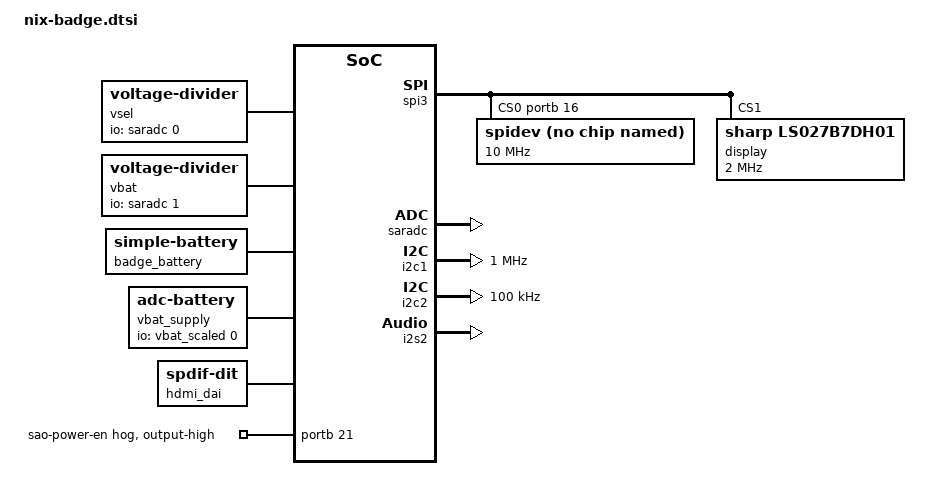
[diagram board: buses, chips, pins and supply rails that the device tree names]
// SPDX-License-Identifier: (GPL-2.0 OR MIT)
/*
 * The NixVegas badge carrier, on either core: the SPI3 LED ring and Sharp panel, the
 * SAO power hog, the SARADC rail meters, the I2C1 OLED, the I2C2 LT8912B bridge and
 * I2S2 HDMI audio. Each core's DTS keeps its own pinctrl, DMA cells and line names.
 */

/*
 * SPI3 (DesignWare APB SSI) on the 40-pin header drives both the WS2812 LED
 * ring (/dev/spidev3.0) and the Sharp Memory Display (display@1) over one bus
 * with the CS-and-gate wiring: U10 gates LED_DIN = CS and SDO, and the front
 * connector routes the same CS net through an inverter to the display's SCS.
 * The controller node itself (compatible/reg/#cells/clocks/interrupts/resets)
 * comes from the base cv180x.dtsi (status="disabled"); this enables it and adds
 * the two board devices. Identical on both cores, so it lives here.
 *
 * Per-core bits stay in each DTS: `dmas` (the cv1800b dmamux request's CPU
 * cell, 0 = CA53 on ARM / 1 = C906 on RISC-V) and, on ARM only, the GIC-form
 * `interrupts` override (the base's 2-cell PLIC form is wrong under the arm64
 * GIC); plus the `spi3_cfg` pinctrl, whose pin-macro names differ (arm PIN_*
 * vs riscv SG2000_*), referenced here by label. Requires RESET_SIMPLE in the
 * kernel (shared, base.nix) so &rst binds and RST_SPI3 is deasserted, without
 * it the optional reset never releases and the bus comes up half-reset.
 */
&spi3 {
	num-cs = <2>;
	/* GPIO chip select, active-high. U10 passes LED data only while CS is
	 * high; the native DW CS cannot do active-high (dw_spi_set_cs just sets
	 * SER regardless of level), so use a gpiod CS, dw_spi sets
	 * SPI_CONTROLLER_GPIO_SS so SER is still raised and data flows. VIVO_D5 is
	 * XGPIOB_16 at mux 3 (see each core's spi3_cfg). */
	cs-gpios = <&portb 16 GPIO_ACTIVE_HIGH>;
	pinctrl-0 = <&spi3_cfg>;
	pinctrl-names = "default";
	status = "okay";

	/* WS2812 ring at /dev/spidev3.0. spidev binds known compatibles only;
	 * rohm,dh2228fv is in spidev_dt_ids. spi-cs-high is required for the U10
	 * and gate: gpiolib-of forces every SPI cs-gpio active-low unless the child
	 * carries spi-cs-high (SPI children default to active-low chip selects). */
	spidev@0 {
		compatible = "rohm,dh2228fv";
		reg = <0>;
		spi-max-frequency = <10000000>;
		spi-cs-high;
	};

	/* Sharp Memory Display (LS027B7DH01, 400x240) as a DRM fbcon. The
	 * same CS net reaches SCS through an inverter, so this child has NO cs-gpios
	 * (the controller's cs-gpios array has one entry; index 1 is NULL) and the
	 * SPI core toggles nothing here, the line sits where the LED cs-gpio
	 * (spidev3.0) left it: low = display selected when the painter is idle.
	 * EXTMODE strapped low => software VCOM (kthread toggles the in-band VCOM
	 * bit, no EXTCOMIN pin); DISP tied high => no enable-gpios. */
	display@1 {
		compatible = "sharp,ls027b7dh01";
		reg = <1>;
		spi-max-frequency = <2000000>;
		sharp,vcom-mode = "software";
	};
};

/*
 * SAO connector power hog. Lives in its own &portb block; dtc merges it with
 * each core's &portb (which carries the core-specific gpio-line-names).
 */
&portb {
	/* Enable the SAO connector power (U13 EN + U12 OE) at boot. */
	sao-power-en-hog {
		gpio-hog;
		gpios = <21 GPIO_ACTIVE_HIGH>;
		output-high;
		line-name = "sao-power-en";
	};
};

/*
 * SARADC for the battery + rail voltage meters. The cv1800b-adc IIO driver
 * exposes in_voltage0/1/2 (scale 3300/4096 = ~0.8057 mV per LSB). Channel map:
 *   in_voltage0 = VSEL  (system rail, = VBUS through the TPS2116 mux; R16/R19),
 *                       2.2M/1M divider -> read via the vsel-divider rescale
 *   in_voltage1 = VBAT  (battery; R15 2.2M / R18 1M), divider -> vbat-divider
 *   in_voltage2 = J6    (user ADC test point, NO divider) -> read the base
 *                       channel directly: in_voltage2_raw * in_voltage_scale
 * VSEL/VBAT need the divider because they exceed the 3.3V input; J6 does not.
 * The base node (cv180x.dtsi) is status="disabled" with channel@0..2 declared.
 */
&saradc {
	status = "okay";
	/* Expose the ADC channels to in-kernel consumers (the iio-rescale below). */
	#io-channel-cells = <1>;
};

/*
 * VBAT as a standard Linux power_supply, to compare against nix-badge's
 * per-badge VBUS auto-cal and decide fixed-factor-vs-cal. iio-rescale
 * (voltage-divider) applies a FIXED factor to the VBAT SARADC channel;
 * generic-adc-battery (adc-battery) then publishes it at
 * /sys/class/power_supply/. The physical divider is 2.2M/1M (x3.2), but the
 * ~138k leaky SARADC input loads it to an effective ~19.24, so output/full-ohms
 * encode ~19.24 (a per-SoC approximation, not the real resistors). Compare
 * voltage_now here to `nix-badge power` (which auto-cals per badge off the ~5V
 * VBUS) to see how far a single fixed factor drifts across badges/temperature.
 * Both cores get this via the shared dtsi. Drivers autoload (CONFIG_IIO_RESCALE,
 * CONFIG_GENERIC_ADC_BATTERY are =m).
 */
/ {
	/* VSEL and VBAT exceed the ADC's 3.3V input range, so each goes through a
	 * 2.2M/1M divider; an iio-rescale presents the true rail voltage in sysfs
	 * (raw*scale = real mV, effective ~19.24 after the leaky ADC input) so
	 * userspace needs no hardcoded factor. `label` surfaces at
	 * /sys/bus/iio/devices/iio:deviceN/label. VBAT additionally feeds an
	 * adc-battery below for the power_supply %/status interface; VSEL is the
	 * system rail (VBUS through the TPS2116 mux). J6 is a direct user ADC input
	 * with NO divider, read it straight from SARADC channel 2 (in_voltage2_raw
	 * * in_voltage_scale), no rescale. */
	vsel_scaled: vsel-divider {
		compatible = "voltage-divider";
		io-channels = <&saradc 0>; /* VSEL = SARADC channel 0 */
		#io-channel-cells = <1>;
		output-ohms = <1000>;
		full-ohms = <19240>;
		label = "vsel";
	};

	/* measured 2026-09-12, badge #1, with a pack fitted and the SARADC
	 * completion race fixed: VBAT is far noisier than VSEL even though the two
	 * nets are electrically identical (2.2M to source, 1M to GND, 10nF to GND;
	 * 687.5k || 10nF = 6.9ms, a 23Hz corner). VBAT sd ~116 raw (~1.8 V!),
	 * swinging 0..584; VSEL sd ~20 on the same ADC and the same conversions.
	 * Eliminated by measurement: the ADC and its driver (VSEL is clean), the
	 * divider topology (identical), the S/H draining the 10nF (rate-invariant,
	 * sd 126/124/141/123 at 0/10/35/100ms gaps, no collapse at 5*tau), and pack
	 * internal resistance (load-invariant, sd 116/104/117 idle/loaded/idle,
	 * median flat). So it is an analog fault on the VBAT path: the 10nF not
	 * doing its job here, board coupling below 23Hz or past the filter, or a
	 * damaged ch1 input in the SoC. Scope the divider midpoint, or jumper
	 * VBAT_MEASURE to the J6 pad (ch2), if the noise follows the net it is the
	 * board, if it stays on ch1 it is the SoC pin. Until then treat the
	 * power_supply voltage_now as advisory and trust nix-badge's median. */
	vbat_scaled: vbat-divider {
		compatible = "voltage-divider";
		io-channels = <&saradc 1>; /* VBAT = SARADC channel 1 */
		#io-channel-cells = <1>;
		output-ohms = <1000>;
		full-ohms = <19240>; /* 19240/1000 = 19.24 effective factor */
		label = "vbat";
	};

	badge_battery: badge-battery {
		compatible = "simple-battery";
		voltage-min-design-microvolt = <3000000>;
		voltage-max-design-microvolt = <4200000>;
	};

	vbat_supply: vbat-adc-battery {
		compatible = "adc-battery";
		io-channels = <&vbat_scaled 0>;
		io-channel-names = "voltage";
		monitored-battery = <&badge_battery>;
	};
};

/*
 * SAO connector I2C = IIC1 (i2c@4010000) for the 128x32 SSD1306 OLED at 0x3c.
 * The bling engine drives the panel from userspace over /dev/i2c-1 (i2c-dev),
 * so we enable the controller but bind no in-kernel client (no ssd1306fb, which
 * would claim 0x3c). The SAO SDA/SCL pads are PORTB 17/18 = PIN_VIVO_D4 /
 * PIN_VIVO_D3; their IIC1 pinmux (i2c1_cfg) is in each core's DTS, since the
 * arm and riscv pin-macro names differ (like sdhci1_cfg).
 */
/* Pin i2c@4010000 to /dev/i2c-1 deterministically (without an alias it takes the
 * first free dynamic bus number, i2c-0 here, since it is the only enabled i2c).
 * The bling engine / `nix-badge oled` open /dev/i2c-1. */
/ {
	aliases {
		i2c1 = &i2c1;
	};
};

&i2c1 {
	status = "okay";
	/* 400 kHz standard fast-mode. We tried 1 MHz fast-mode-plus for 60 fps Bad Apple
	 * headroom, but (a) it gave no fps gain, the delta player is fix-eval-bound at
	 * ~46 fps, not I2C-bandwidth-bound, so a faster bus doesn't lift the ceiling,
	 * and (b) it was marginal for the SAO wiring: single-byte i2cdetect still ACKs at
	 * 1 MHz. That was pinned back to 400 kHz once, because the multi-byte SSD1306
	 * init sequence intermittently NAKs at 1 MHz and a NAK during init is not a
	 * small failure: Panel.open reads it as "nothing answers at 0x3c" and the
	 * badge runs blind until the next boot (the no-OLED guard). It is back at
	 * 1 MHz now that command frames retry, see cmd_retries / writeCmdFrame in
	 * pkgs/badge/nix-badge/oled.zig, which re-sends a frame the panel did not ACK
	 * (safe because every init and addressing byte is an idempotent register
	 * write; data frames deliberately do not retry).
	 *
	 * Do not read this as the road to 60 fps. Measured on the badge, the oled
	 * daemon splits 26% user / 6% kernel, so it is per-frame eval cost that
	 * dominates, not the bus, and Bad Apple's delta frames are tens of bytes
	 * either way. What 1 MHz actually buys is full-frame flushes: ~23 ms at
	 * 400 kHz against ~9 ms here. If blank-panel boots ever come back, drop this
	 * to 400000 first and reopen the retry path second. */
	clock-frequency = <1000000>;
	/* i2c1_cfg (VIVO_D4/D3 -> IIC1, mux 5) is defined per-core: the arm and
	 * riscv pin-macro names differ (PIN_VIVO_* vs SG2000_VIVO_*), like sdhci1_cfg.
	 * The label resolves globally at dtc time. */
	pinctrl-names = "default";
	pinctrl-0 = <&i2c1_cfg>;
};

/*
 * IIC2 carries the LT8912B HDMI bridge control port: 0x48 main, 0x49
 * DSI/AVI, 0x4a. Disabled in cv180x.dtsi by default, without this only
 * /dev/i2c-1 exists and the bridge cannot be programmed at all, which on the
 * riscv core showed up as a perfect DSI stream going into an unconfigured
 * bridge. 100 kHz standard mode for a robust first register probe (the part
 * tolerates 400 kHz; can be raised later).
 *
 * iic2_cfg (IIC2_SCL/SDA, chip J13/J14, mux 0) is defined per-core for the
 * same reason as i2c1_cfg: the arm and riscv pin-macro names differ. Those
 * pads are IO_TYPE_1V8_ONLY, so both definitions must use power-source 1800
 * or the whole pin state -EINVALs.
 */
&i2c2 {
	status = "okay";
	clock-frequency = <100000>;
	pinctrl-names = "default";
	pinctrl-0 = <&iic2_cfg>;
};

/*
 * HDMI audio: SG2000 I2S2 -> LT8912B I2S input.
 *
 * Traced from the badge's own KiCad sources (pcb, cpu.kicad_sch +
 * hdmi.kicad_sch). Three global-label nets, module -> bridge, and nowhere
 * else:
 *
 *   net        U1 pin           SoC pad (ball)          U16 (LT8912B) pin
 *   I2S_BCLK   19 AUDIO_IN_L    PAD_AUD_AINL_MIC (H1)   60  SCLK_I
 *   I2S_LRCK   17 AUDIO_OUT_L   PAD_AUD_AOUTL    (F2)   59  WS_I
 *   I2S_SPKR   18 AUDIO_OUT_R   PAD_AUD_AOUTR    (G2)   58  SD0
 *
 * At fmux value 5 all three pads select IIS2 (IIS2_BCLK / IIS2_LRCK /
 * IIS2_DO) with the correct direction on each. IIS1 would also reach them
 * but needs a mixed 4/4/6 and puts AOUTR in input mode, which is wrong.
 *
 * There is NO MCLK net. The only MCLK-capable exposed pad is IIC2_SDA, which
 * carries the bridge's own control bus, so the SoC must be I2S master and the
 * bridge recovers its clock from BCLK. That suits the driver, which forces
 * CLK_MCLK_OUT_EN = 0 anyway.
 *
 * The AIAO crossbar reset default already routes external IIS2 <-> i2s_tdm_2
 * (i2s_tdm_sdo_out_sel @ 0x0410800c bits 10:8 = 0x6), so i2s2@4120000 is the
 * controller and no crossbar poke is needed.
 *
 * This forfeits the internal analog codec: int_dac/int_adc drive these same
 * four pads, and stay disabled.
 *
 * Note both arches get i2s2 from the same node, arm64's sg2000.dtsi does
 * `#include <riscv/sophgo/cv180x.dtsi>`, so this override is shared. Only
 * the pinmux (different pin-numbering headers) and the DMA CPU cell differ,
 * and those live in the per-arch .dts.
 */
&i2s2 {
	status = "okay";
	/* The inherited node has no #sound-dai-cells; simple-audio-card's
	 * `sound-dai = <&i2s2>` will not resolve without it. */
	#sound-dai-cells = <0>;
	pinctrl-names = "default";
	pinctrl-0 = <&iis2_cfg>;
};

/ {
	/*
	 * The LT8912B is configured over /dev/i2c-2 by the same userspace
	 * bring-up recipe that drives the video side, so ASoC only needs a DAI
	 * to terminate the link against. linux,spdif-dit is the canonical stub.
	 *
	 * Giving the bridge a real DRM bridge node instead would need a DSI
	 * host for it to attach to, which only soph_drm in the desktop profile
	 * provides (site/src/hdmi.md).
	 */
	hdmi_dai: spdif-transmitter {
		compatible = "linux,spdif-dit";
		#sound-dai-cells = <0>;
	};

	hdmi_sound: sound {
		compatible = "simple-audio-card";
		simple-audio-card,name = "LT8912B HDMI";
		simple-audio-card,format = "i2s";
		/*
		 * The SoC drives BCLK and LRCK. simple-card flips the polarity
		 * for the CPU end, so cv1800b_i2s_dai_set_fmt() sees CBP_CFP
		 * and sets master_mode. The bridge is a pure slave sink, it
		 * has no clock to give us, and no MCLK is routed.
		 */
		simple-audio-card,bitclock-master = <&hdmi_cpu_dai>;
		simple-audio-card,frame-master = <&hdmi_cpu_dai>;

		hdmi_cpu_dai: simple-audio-card,cpu {
			sound-dai = <&i2s2>;
			/*
			 * MCLK fixed at 24.576 MHz (audio PLL / 32), set once at probe.
			 * Without it simple-card hands the I2S driver the rate of the
			 * node's first clock, the 300 MHz APB clock, as MCLK; the driver
			 * sizes BCLK from that while the real MCLK is 262 MHz, so 48 kHz
			 * plays at 42 kHz. Fixed rather than mclk-fs: with mclk-fs
			 * simple-card resets the sysclk to 0 after every stream, which
			 * cv1800b-tdm rejects with -EINVAL.
			 */
			system-clock-frequency = <24576000>;
		};

		simple-audio-card,codec {
			sound-dai = <&hdmi_dai>;
		};
	};
};
